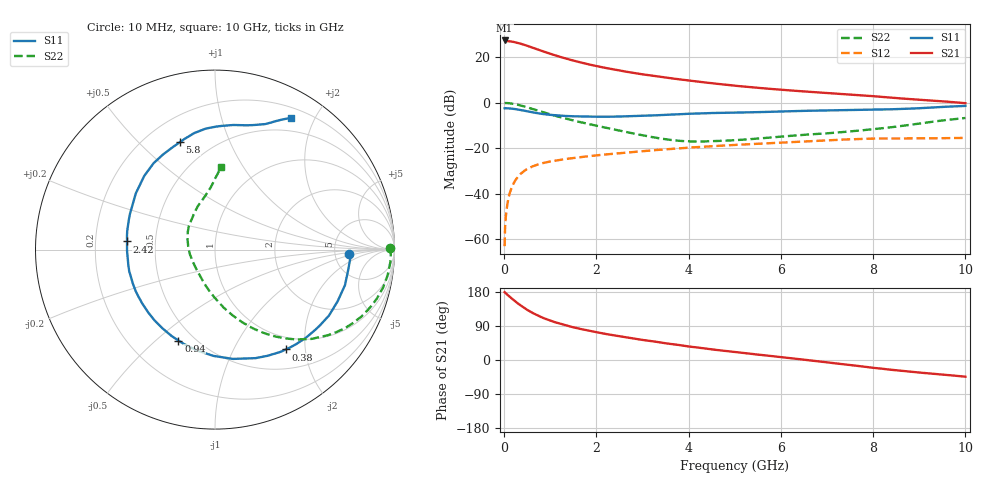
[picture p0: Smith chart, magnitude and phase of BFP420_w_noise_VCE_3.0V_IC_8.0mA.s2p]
! Infineon Technologies  Discrete & RF Semiconductors
! BFP420
! VCE =  3.0 V,  IC =  8.0 mA
! Common Emitter S-Parameters:  Jan 2016
# GHz  S  MA  R  50
!  f  S11  S21  S12  S22
! GHz  MAG  ANG  MAG  ANG  MAG  ANG  MAG  ANG
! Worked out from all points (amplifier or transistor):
!   233 points, 10 MHz to 10 GHz, reference 50 ohm
!   highest |S21| = 27.3 dB at 10 MHz (marker M1)
!   |S21| within 3 dB of that: start of sweep to 594.1 MHz
!   unconditionally stable (mu >= 1): start of sweep to 10.1 MHz; 2.568 GHz to end of sweep
!   at 200 MHz: K = 0.12, MSG = 31.2 dB, |S12| = -35.7 dB
!   at 1.74 GHz: K = 0.76, MSG = 20.5 dB, |S12| = -23.8 dB
!   at 10 GHz: K = 1.10, MAG = 5.7 dB, |S12| = -15.5 dB
!   lowest NFmin = 0.79 dB at 900 MHz
!   S11 on the Smith chart (normalised r, x): 10 MHz: 6.91, -0.70; 380 MHz: 0.79, -1.64; 940 MHz: 0.41, -0.59; 2.42 GHz: 0.34, +0.04; 5.8 GHz: 0.34, +0.67; 10 GHz: 0.32, +1.68
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0.01  0.7496 -1.7  23.25 179.0  0.0007 60.7  0.9755 0.6
0.02  0.7566 -3.0  22.61 177.7  0.0018 79.4  0.9801 -1.6
0.06  0.7505 -9.1  22.53 173.3  0.0051 80.3  0.9775 -5.0
0.1  0.7508 -15.3  22.46 169.1  0.0085 80.8  0.9724 -8.5
0.2  0.7337 -30.1  21.67 158.7  0.0164 75.1  0.9424 -16.8
0.3  0.7055 -44.2  20.52 149.0  0.0235 69.0  0.8973 -24.5
0.38  0.6817 -54.7  19.43 142.1  0.0284 64.5  0.8542 -30.0
0.5  0.6456 -69.5  17.75 132.3  0.0348 58.9  0.7873 -37.4
0.6  0.6172 -80.7  16.39 125.2  0.0391 54.9  0.7323 -42.8
0.8  0.5706 -100.2  13.88 113.4  0.0458 49.1  0.6329 -51.5
0.94  0.5459 -111.9  12.42 106.7  0.0494 46.2  0.5738 -56.5
1.1  0.5272 -123.8  10.99 99.8  0.053 43.8  0.5158 -61.6
1.28  0.5121 -135.4  9.68 93.2  0.0566 41.7  0.4605 -66.7
1.68  0.4957 -156.4  7.553 81.3  0.0637 38.5  0.3669 -76.4
2.42  0.4928 174.7  5.249 64.1  0.0763 34.3  0.2522 -93.5
3.4  0.5334 147.1  3.669 46.1  0.0925 28.8  0.1622 -124.0
4  0.569 133.9  3.062 35.7  0.1025 25.1  0.1409 -149.7
5.1  0.606 117.4  2.304 19.7  0.119 17.7  0.1517 171.1
5.8  0.6294 108.2  1.994 10.3  0.1289 13.1  0.1717 152.6
6.8  0.6689 96.5  1.68 -3.4  0.1448 5.6  0.205 131.9
8.4  0.7144 75.8  1.283 -25.9  0.1627 -10.1  0.2882 103.6
10  0.8469 60.1  0.973 -44.1  0.1678 -21.2  0.4599 85.8
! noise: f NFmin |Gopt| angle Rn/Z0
0.9  0.79  0.08  30  0.13
1.8  1.14  0.06  171  0.12
2.4  1.24  0.1  160  0.13
3  1.32  0.17  -165  0.12
4  1.46  0.32  -132  0.14
5  1.85  0.39  -110  0.25
6  2.3  0.46  -95  0.37
